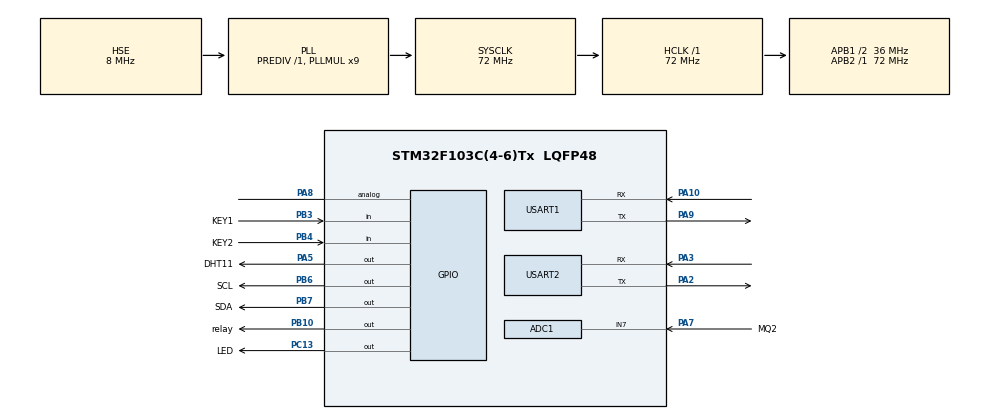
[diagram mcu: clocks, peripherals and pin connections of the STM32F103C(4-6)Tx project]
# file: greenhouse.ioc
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ADC1.Channel-8\#ChannelRegularConversion=ADC_CHANNEL_7
ADC1.ContinuousConvMode=ENABLE
ADC1.NbrOfConversionFlag=1
ADC1.Rank-8\#ChannelRegularConversion=1
ADC1.SamplingTime-8\#ChannelRegularConversion=ADC_SAMPLETIME_13CYCLES_5
ADC1.master=1
Dma.ADC1.0.Direction=DMA_PERIPH_TO_MEMORY
Dma.ADC1.0.Instance=DMA1_Channel1
Dma.ADC1.0.MemDataAlignment=DMA_MDATAALIGN_HALFWORD
Dma.ADC1.0.MemInc=DMA_MINC_ENABLE
Dma.ADC1.0.Mode=DMA_CIRCULAR
Dma.ADC1.0.PeriphDataAlignment=DMA_PDATAALIGN_HALFWORD
Dma.ADC1.0.PeriphInc=DMA_PINC_DISABLE
Dma.ADC1.0.Priority=DMA_PRIORITY_LOW
Dma.Request0=ADC1
Mcu.Family=STM32F1
Mcu.Name=STM32F103C(4-6)Tx
Mcu.Package=LQFP48
NVIC.ADC1_2_IRQn=true\:1\:0\:true\:false\:true\:true\:true\:true
NVIC.DMA1_Channel1_IRQn=true\:0\:0\:false\:false\:true\:false\:true\:true
NVIC.PriorityGroup=NVIC_PRIORITYGROUP_2
NVIC.TIM2_IRQn=true\:0\:0\:false\:false\:true\:true\:true\:true
NVIC.TIM3_IRQn=true\:1\:0\:true\:false\:true\:true\:true\:true
NVIC.USART2_IRQn=true\:1\:1\:true\:false\:true\:true\:true\:true
PA10.Mode=Asynchronous
PA10.Signal=USART1_RX
PA13.Mode=Serial_Wire
PA13.Signal=SYS_JTMS-SWDIO
PA14.Mode=Serial_Wire
PA14.Signal=SYS_JTCK-SWCLK
PA2.Mode=Asynchronous
PA2.Signal=USART2_TX
PA3.Mode=Asynchronous
PA3.Signal=USART2_RX
PA5.GPIO_Label=DHT11
PA5.Signal=GPIO_Output
PA7.GPIO_Label=MQ2
PA7.Signal=ADCx_IN7
PA8.Signal=GPIO_Analog
PA9.Mode=Asynchronous
PA9.Signal=USART1_TX
PB10.GPIO_Label=relay
PB10.Signal=GPIO_Output
PB3.GPIO_Label=KEY1
PB3.GPIO_PuPd=GPIO_PULLUP
PB3.Signal=GPIO_Input
PB4.GPIO_Label=KEY2
PB4.GPIO_PuPd=GPIO_PULLUP
PB4.Signal=GPIO_Input
PB6.GPIO_Label=SCL
PB6.GPIO_Speed=GPIO_SPEED_FREQ_HIGH
PB6.Signal=GPIO_Output
PB7.GPIO_Label=SDA
PB7.GPIO_Speed=GPIO_SPEED_FREQ_HIGH
PB7.Signal=GPIO_Output
PC13-TAMPER-RTC.GPIO_Label=LED
PC13-TAMPER-RTC.GPIO_Speed=GPIO_SPEED_FREQ_HIGH
PC13-TAMPER-RTC.Signal=GPIO_Output
PD0-OSC_IN.Mode=HSE-External-Oscillator
PD0-OSC_IN.Signal=RCC_OSC_IN
PD1-OSC_OUT.Mode=HSE-External-Oscillator
PD1-OSC_OUT.Signal=RCC_OSC_OUT
ProjectManager.HeapSize=0x1000
ProjectManager.StackSize=0x1000
ProjectManager.TargetToolchain=MDK-ARM V5.32
RCC.ADCPresc=RCC_ADCPCLK2_DIV6
RCC.AHBFreq_Value=72000000
RCC.APB1CLKDivider=RCC_HCLK_DIV2
RCC.APB1Freq_Value=36000000
RCC.APB1TimFreq_Value=72000000
RCC.APB2Freq_Value=72000000
RCC.APB2TimFreq_Value=72000000
RCC.HCLKFreq_Value=72000000
RCC.PLLMUL=RCC_PLL_MUL9
RCC.PLLSourceVirtual=RCC_PLLSOURCE_HSE
RCC.SYSCLKFreq_VALUE=72000000
RCC.SYSCLKSource=RCC_SYSCLKSOURCE_PLLCLK
RCC.USBFreq_Value=72000000
SH.ADCx_IN7.0=ADC1_IN7,IN7
TIM2.Period=499
TIM2.Prescaler=719
TIM3.Period=999
TIM3.Prescaler=719
USART1.VirtualMode=VM_ASYNC
USART2.VirtualMode=VM_ASYNC
VP_TIM2_VS_ClockSourceINT.Mode=Internal
VP_TIM3_VS_ClockSourceINT.Mode=Internal
board=custom

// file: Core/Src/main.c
/* USER CODE BEGIN Header */
/**
 ******************************************************************************
 * @file           : main.c
 * @brief          : Main program body
 ******************************************************************************
 * @attention
 *
 * Copyright (c) 2022 STMicroelectronics.
 * All rights reserved.
 *
 * This software is licensed under terms that can be found in the LICENSE file
 * in the root directory of this software component.
 * If no LICENSE file comes with this software, it is provided AS-IS.
 *
 ******************************************************************************
 */
/* USER CODE END Header */
#include "main.h"
#include "adc.h"
#include "dma.h"
#include "tim.h"
#include "usart.h"
#include "gpio.h"

/* USER CODE BEGIN Includes */
#include "BSP.h"
#include "APP.h"
#include "esp8266.h"
#include "onenet.h"
/* USER CODE END Includes */

void SystemClock_Config(void);

int main(void)
{

  /* MCU Configuration--------------------------------------------------------*/

  /* Reset of all peripherals, Initializes the Flash interface and the Systick. */
  HAL_Init();

  /* Configure the system clock */
  SystemClock_Config();

  /* Initialize all configured peripherals */
  MX_GPIO_Init();
  MX_DMA_Init();
  MX_ADC1_Init();
  MX_USART1_UART_Init();
  MX_USART2_UART_Init();
  MX_TIM3_Init();
  MX_TIM2_Init();
  /* USER CODE BEGIN 2 */
  HAL_UART_Receive_IT(&huart2, esp8266_buf, 128);
  BSP_Init();

//  while (OneNet_DevLink()) //接入OneNET
  connet_flag = OneNet_DevLink();
  APP_KEY_Init();
  APP_Program_Init();
  delay_ms(600);

  /* USER CODE END 2 */

  /* Infinite loop */
  while (1)
  {

    /* USER CODE BEGIN 3 */

    APP_LED_Blink();
    APP_DHT11();
    APP_ADC();
    APP_NET();
    APP_Alarm();
    APP_OLED();
	APP_Program();
    //		delay_ms(10);
  }
  /* USER CODE END 3 */
}

void SystemClock_Config(void)
{
  RCC_OscInitTypeDef RCC_OscInitStruct = {0};
  RCC_ClkInitTypeDef RCC_ClkInitStruct = {0};
  RCC_PeriphCLKInitTypeDef PeriphClkInit = {0};

  /** Initializes the RCC Oscillators according to the specified parameters
  * in the RCC_OscInitTypeDef structure.
  */
  RCC_OscInitStruct.OscillatorType = RCC_OSCILLATORTYPE_HSE;
  RCC_OscInitStruct.HSEState = RCC_HSE_ON;
  RCC_OscInitStruct.HSEPredivValue = RCC_HSE_PREDIV_DIV1;
  RCC_OscInitStruct.HSIState = RCC_HSI_ON;
  RCC_OscInitStruct.PLL.PLLState = RCC_PLL_ON;
  RCC_OscInitStruct.PLL.PLLSource = RCC_PLLSOURCE_HSE;
  RCC_OscInitStruct.PLL.PLLMUL = RCC_PLL_MUL9;
  if (HAL_RCC_OscConfig(&RCC_OscInitStruct) != HAL_OK)
  {
    Error_Handler();
  }

  /** Initializes the CPU, AHB and APB buses clocks
  */
  RCC_ClkInitStruct.ClockType = RCC_CLOCKTYPE_HCLK|RCC_CLOCKTYPE_SYSCLK
                              |RCC_CLOCKTYPE_PCLK1|RCC_CLOCKTYPE_PCLK2;
  RCC_ClkInitStruct.SYSCLKSource = RCC_SYSCLKSOURCE_PLLCLK;
  RCC_ClkInitStruct.AHBCLKDivider = RCC_SYSCLK_DIV1;
  RCC_ClkInitStruct.APB1CLKDivider = RCC_HCLK_DIV2;
  RCC_ClkInitStruct.APB2CLKDivider = RCC_HCLK_DIV1;

  if (HAL_RCC_ClockConfig(&RCC_ClkInitStruct, FLASH_LATENCY_2) != HAL_OK)
  {
    Error_Handler();
  }
  PeriphClkInit.PeriphClockSelection = RCC_PERIPHCLK_ADC;
  PeriphClkInit.AdcClockSelection = RCC_ADCPCLK2_DIV6;
  if (HAL_RCCEx_PeriphCLKConfig(&PeriphClkInit) != HAL_OK)
  {
    Error_Handler();
  }
}

void Error_Handler(void)
{
  __disable_irq();
  while (1)
  {
  }
}
